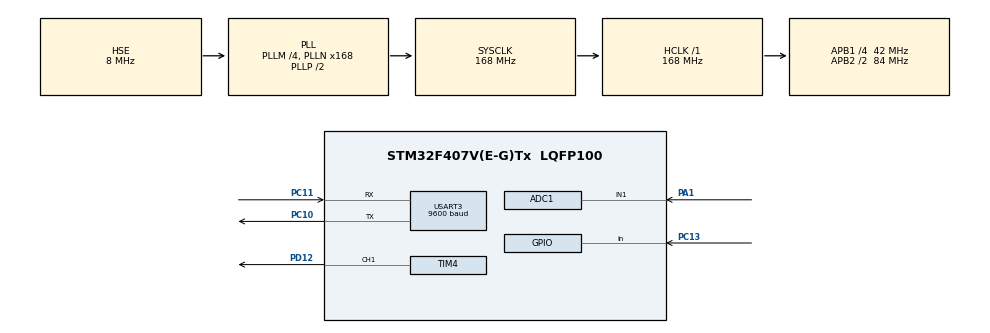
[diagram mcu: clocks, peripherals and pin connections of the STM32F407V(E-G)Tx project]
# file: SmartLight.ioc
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ADC1.Channel-9\#ChannelRegularConversion=ADC_CHANNEL_1
ADC1.ClockPrescaler=ADC_CLOCK_SYNC_PCLK_DIV4
ADC1.ContinuousConvMode=DISABLE
ADC1.DMAContinuousRequests=DISABLE
ADC1.DataAlign=ADC_DATAALIGN_RIGHT
ADC1.DiscontinuousConvMode=DISABLE
ADC1.EOCSelection=ADC_EOC_SINGLE_CONV
ADC1.EnableAnalogWatchDog=false
ADC1.ExternalTrigConv=ADC_SOFTWARE_START
ADC1.ExternalTrigConvEdge=ADC_EXTERNALTRIGCONVEDGE_NONE
ADC1.InjNumberOfConversion=0
ADC1.NbrOfConversion=1
ADC1.NbrOfConversionFlag=1
ADC1.Rank-9\#ChannelRegularConversion=1
ADC1.Resolution=ADC_RESOLUTION_12B
ADC1.SamplingTime-9\#ChannelRegularConversion=ADC_SAMPLETIME_3CYCLES
ADC1.ScanConvMode=DISABLE
ADC1.master=1
Mcu.Family=STM32F4
Mcu.Name=STM32F407V(E-G)Tx
Mcu.Package=LQFP100
NVIC.PriorityGroup=NVIC_PRIORITYGROUP_4
NVIC.USART3_IRQn=true\:0\:0\:false\:false\:true\:true
PA1.Signal=ADCx_IN1
PC10.Mode=Asynchronous
PC10.Signal=USART3_TX
PC11.Mode=Asynchronous
PC11.Signal=USART3_RX
PC13-ANTI_TAMP.Signal=GPIO_Input
PD12.Signal=S_TIM4_CH1
PH0-OSC_IN.Mode=HSE-External-Oscillator
PH0-OSC_IN.Signal=RCC_OSC_IN
PH1-OSC_OUT.Mode=HSE-External-Oscillator
PH1-OSC_OUT.Signal=RCC_OSC_OUT
ProjectManager.HeapSize=0x200
ProjectManager.StackSize=0x400
ProjectManager.TargetToolchain=SW4STM32
RCC.48MHZClocksFreq_Value=84000000
RCC.AHBFreq_Value=168000000
RCC.APB1CLKDivider=RCC_HCLK_DIV4
RCC.APB1Freq_Value=42000000
RCC.APB1TimFreq_Value=84000000
RCC.APB2CLKDivider=RCC_HCLK_DIV2
RCC.APB2Freq_Value=84000000
RCC.APB2TimFreq_Value=168000000
RCC.CortexFreq_Value=168000000
RCC.HCLKFreq_Value=168000000
RCC.HSE_VALUE=8000000
RCC.HSI_VALUE=16000000
RCC.LSE_VALUE=32768
RCC.PLLM=4
RCC.PLLN=168
RCC.PLLSourceVirtual=RCC_PLLSOURCE_HSE
RCC.SYSCLKFreq_VALUE=168000000
RCC.SYSCLKSource=RCC_SYSCLKSOURCE_PLLCLK
RCC.VCOOutputFreq_Value=336000000
SH.ADCx_IN1.0=ADC1_IN1,IN1
SH.S_TIM4_CH1.0=TIM4_CH1,PWM Generation1 CH1
TIM4.Channel-PWM\ Generation1\ CH1=TIM_CHANNEL_1
TIM4.Period=999
TIM4.Prescaler=83
USART3.BaudRate=9600
USART3.VirtualMode=VM_ASYNC
VP_TIM4_VS_ClockSourceINT.Mode=Internal
board=custom

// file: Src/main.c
/**
 ******************************************************************************
 * @file           : main.c
 * @brief          : Main program body
 ******************************************************************************
 ** This notice applies to any and all portions of this file
 * that are not between comment pairs USER CODE BEGIN and
 * USER CODE END. Other portions of this file, whether
 * inserted by the user or by software development tools
 * are owned by their respective copyright owners.
 *
 * COPYRIGHT(c) 2019 STMicroelectronics
 *
 * Redistribution and use in source and binary forms, with or without modification,
 * are permitted provided that the following conditions are met:
 *   1. Redistributions of source code must retain the above copyright notice,
 *      this list of conditions and the following disclaimer.
 *   2. Redistributions in binary form must reproduce the above copyright notice,
 *      this list of conditions and the following disclaimer in the documentation
 *      and/or other materials provided with the distribution.
 *   3. Neither the name of STMicroelectronics nor the names of its contributors
 *      may be used to endorse or promote products derived from this software
 *      without specific prior written permission.
 *
 * THIS SOFTWARE IS PROVIDED BY THE COPYRIGHT HOLDERS AND CONTRIBUTORS "AS IS"
 * AND ANY EXPRESS OR IMPLIED WARRANTIES, INCLUDING, BUT NOT LIMITED TO, THE
 * IMPLIED WARRANTIES OF MERCHANTABILITY AND FITNESS FOR A PARTICULAR PURPOSE ARE
 * DISCLAIMED. IN NO EVENT SHALL THE COPYRIGHT HOLDER OR CONTRIBUTORS BE LIABLE
 * FOR ANY DIRECT, INDIRECT, INCIDENTAL, SPECIAL, EXEMPLARY, OR CONSEQUENTIAL
 * DAMAGES (INCLUDING, BUT NOT LIMITED TO, PROCUREMENT OF SUBSTITUTE GOODS OR
 * SERVICES; LOSS OF USE, DATA, OR PROFITS; OR BUSINESS INTERRUPTION) HOWEVER
 * CAUSED AND ON ANY THEORY OF LIABILITY, WHETHER IN CONTRACT, STRICT LIABILITY,
 * OR TORT (INCLUDING NEGLIGENCE OR OTHERWISE) ARISING IN ANY WAY OUT OF THE USE
 * OF THIS SOFTWARE, EVEN IF ADVISED OF THE POSSIBILITY OF SUCH DAMAGE.
 *
 ******************************************************************************
 */
#include "main.h"
#include "stm32f4xx_hal.h"

ADC_HandleTypeDef hadc1;

TIM_HandleTypeDef htim4;

UART_HandleTypeDef huart3;

/* USER CODE BEGIN PV */
/* Private variables ---------------------------------------------------------*/
uint8_t receiveUART[1];
uint16_t sizeReceiveUART = 1;
uint8_t receiveCodeUART;
volatile int status = -3;
volatile int light_intensity = 100;
uint16_t ambient_value;
/* USER CODE END PV */

void SystemClock_Config(void);
static void MX_GPIO_Init(void);
static void MX_USART3_UART_Init(void);
static void MX_ADC1_Init(void);
static void MX_TIM4_Init(void);

void HAL_TIM_MspPostInit(TIM_HandleTypeDef *htim);

/* USER CODE BEGIN PFP */
/* Private function prototypes -----------------------------------------------*/
void HAL_UART_RxCpltCallback(UART_HandleTypeDef *huart) {
	if(huart->Instance == USART3){

		receiveCodeUART = receiveUART[0];

		// LED stripe ON
		if(receiveCodeUART == 'O')
			status = -1;

		// LED stripe OFF
		else if(receiveCodeUART == 'F')
			status = -2;

		// motion detection ON
		else if(receiveCodeUART == 'M')
			status = 1;

		// ambient light intensity sensor ON
		else if(receiveCodeUART == 'A')
			status = 2;

		// ambient light intensity sensor and motion detection ON
		else if(receiveCodeUART == 'B')
			status = 3;

		// 0% of LED light intensity
		else if(receiveCodeUART == '0')
			light_intensity = 0;

		// 20% of LED light intensity
		else if(receiveCodeUART == '2')
			light_intensity = 20;

		// 40% of LED light intensity
		else if(receiveCodeUART == '4')
			light_intensity = 40;

		// 60% of LED light intensity
		else if(receiveCodeUART == '6')
			light_intensity = 60;

		// 80% of LED light intensity
		else if(receiveCodeUART == '8')
			light_intensity = 80;

		// 100% of LED light intensity
		else if(receiveCodeUART == '1')
			light_intensity = 100;
	}

	HAL_UART_Receive_IT(&huart3, receiveUART, sizeReceiveUART);
}
/* USER CODE END PFP */

int main(void)
{

	/* MCU Configuration----------------------------------------------------------*/

	/* Reset of all peripherals, Initializes the Flash interface and the Systick. */
	HAL_Init();

	/* Configure the system clock */
	SystemClock_Config();

	/* Initialize all configured peripherals */
	MX_GPIO_Init();
	MX_USART3_UART_Init();
	MX_ADC1_Init();
	MX_TIM4_Init();
	/* USER CODE BEGIN 2 */
	HAL_UART_Receive_IT(&huart3, receiveUART, sizeReceiveUART);
	HAL_TIM_Base_Start_IT(&htim4);
	HAL_TIM_PWM_Start(&htim4, TIM_CHANNEL_1);

	/* USER CODE END 2 */

	/* Infinite loop */
	/* USER CODE BEGIN WHILE */
	while (1)
	{
		switch(status){
		case -1:{
			TIM4->CCR1 = (light_intensity*10);
			break;
		}
		case -2:{
			TIM4->CCR1 = 0;
			break;
		}
		case 1:{
			int motion = HAL_GPIO_ReadPin(GPIOC, GPIO_PIN_13);

			if (motion == 0)
				TIM4->CCR1 = 0;
			else if (motion == 1){
				TIM4->CCR1 = (light_intensity*10);
			}
			break;
		}
		case 2:{
			HAL_ADC_Start(&hadc1);

			if(HAL_ADC_PollForConversion(&hadc1, 10) == HAL_OK)
				ambient_value = HAL_ADC_GetValue(&hadc1);

			if(ambient_value >= 3000 )
				TIM4->CCR1 = 50;
			else if(ambient_value >= 1000 && ambient_value < 3000 )
				TIM4->CCR1 = 200;
			else if(ambient_value < 1000)
				TIM4->CCR1 = 999;

			break;
		}
		case 3:{
			HAL_ADC_Start(&hadc1);

			if(HAL_ADC_PollForConversion(&hadc1, 10) == HAL_OK)
				ambient_value = HAL_ADC_GetValue(&hadc1);

			int motion = HAL_GPIO_ReadPin(GPIOC, GPIO_PIN_13);

			switch(motion){
			case 0:{
				TIM4->CCR1 = 0;
				break;
			}
			case 1:{
				if(ambient_value >= 3000 )
					TIM4->CCR1 = 50;
				else if(ambient_value >= 1000 && ambient_value < 3000 )
					TIM4->CCR1 = 200;
				else if(ambient_value < 1000)
					TIM4->CCR1 = 999;
				break;
			}
			}
			break;
		}
		}

		/* USER CODE END WHILE */

	}

}

void SystemClock_Config(void)
{

	RCC_OscInitTypeDef RCC_OscInitStruct;
	RCC_ClkInitTypeDef RCC_ClkInitStruct;

	/**Configure the main internal regulator output voltage
	 */
	__HAL_RCC_PWR_CLK_ENABLE();

	__HAL_PWR_VOLTAGESCALING_CONFIG(PWR_REGULATOR_VOLTAGE_SCALE1);

	/**Initializes the CPU, AHB and APB busses clocks
	 */
	RCC_OscInitStruct.OscillatorType = RCC_OSCILLATORTYPE_HSE;
	RCC_OscInitStruct.HSEState = RCC_HSE_ON;
	RCC_OscInitStruct.PLL.PLLState = RCC_PLL_ON;
	RCC_OscInitStruct.PLL.PLLSource = RCC_PLLSOURCE_HSE;
	RCC_OscInitStruct.PLL.PLLM = 4;
	RCC_OscInitStruct.PLL.PLLN = 168;
	RCC_OscInitStruct.PLL.PLLP = RCC_PLLP_DIV2;
	RCC_OscInitStruct.PLL.PLLQ = 4;
	if (HAL_RCC_OscConfig(&RCC_OscInitStruct) != HAL_OK)
	{
		_Error_Handler(__FILE__, __LINE__);
	}

	/**Initializes the CPU, AHB and APB busses clocks
	 */
	RCC_ClkInitStruct.ClockType = RCC_CLOCKTYPE_HCLK|RCC_CLOCKTYPE_SYSCLK
			|RCC_CLOCKTYPE_PCLK1|RCC_CLOCKTYPE_PCLK2;
	RCC_ClkInitStruct.SYSCLKSource = RCC_SYSCLKSOURCE_PLLCLK;
	RCC_ClkInitStruct.AHBCLKDivider = RCC_SYSCLK_DIV1;
	RCC_ClkInitStruct.APB1CLKDivider = RCC_HCLK_DIV4;
	RCC_ClkInitStruct.APB2CLKDivider = RCC_HCLK_DIV2;

	if (HAL_RCC_ClockConfig(&RCC_ClkInitStruct, FLASH_LATENCY_5) != HAL_OK)
	{
		_Error_Handler(__FILE__, __LINE__);
	}

	/**Configure the Systick interrupt time
	 */
	HAL_SYSTICK_Config(HAL_RCC_GetHCLKFreq()/1000);

	/**Configure the Systick
	 */
	HAL_SYSTICK_CLKSourceConfig(SYSTICK_CLKSOURCE_HCLK);

	/* SysTick_IRQn interrupt configuration */
	HAL_NVIC_SetPriority(SysTick_IRQn, 0, 0);
}

/* ADC1 init function */
static void MX_ADC1_Init(void)
{

	ADC_ChannelConfTypeDef sConfig;

	/**Configure the global features of the ADC (Clock, Resolution, Data Alignment and number of conversion)
	 */
	hadc1.Instance = ADC1;
	hadc1.Init.ClockPrescaler = ADC_CLOCK_SYNC_PCLK_DIV4;
	hadc1.Init.Resolution = ADC_RESOLUTION_12B;
	hadc1.Init.ScanConvMode = DISABLE;
	hadc1.Init.ContinuousConvMode = DISABLE;
	hadc1.Init.DiscontinuousConvMode = DISABLE;
	hadc1.Init.ExternalTrigConvEdge = ADC_EXTERNALTRIGCONVEDGE_NONE;
	hadc1.Init.ExternalTrigConv = ADC_SOFTWARE_START;
	hadc1.Init.DataAlign = ADC_DATAALIGN_RIGHT;
	hadc1.Init.NbrOfConversion = 1;
	hadc1.Init.DMAContinuousRequests = DISABLE;
	hadc1.Init.EOCSelection = ADC_EOC_SINGLE_CONV;
	if (HAL_ADC_Init(&hadc1) != HAL_OK)
	{
		_Error_Handler(__FILE__, __LINE__);
	}

	/**Configure for the selected ADC regular channel its corresponding rank in the sequencer and its sample time.
	 */
	sConfig.Channel = ADC_CHANNEL_1;
	sConfig.Rank = 1;
	sConfig.SamplingTime = ADC_SAMPLETIME_3CYCLES;
	if (HAL_ADC_ConfigChannel(&hadc1, &sConfig) != HAL_OK)
	{
		_Error_Handler(__FILE__, __LINE__);
	}

}

/* TIM4 init function */
static void MX_TIM4_Init(void)
{

	TIM_ClockConfigTypeDef sClockSourceConfig;
	TIM_MasterConfigTypeDef sMasterConfig;
	TIM_OC_InitTypeDef sConfigOC;

	htim4.Instance = TIM4;
	htim4.Init.Prescaler = 83;
	htim4.Init.CounterMode = TIM_COUNTERMODE_UP;
	htim4.Init.Period = 999;
	htim4.Init.ClockDivision = TIM_CLOCKDIVISION_DIV1;
	if (HAL_TIM_Base_Init(&htim4) != HAL_OK)
	{
		_Error_Handler(__FILE__, __LINE__);
	}

	sClockSourceConfig.ClockSource = TIM_CLOCKSOURCE_INTERNAL;
	if (HAL_TIM_ConfigClockSource(&htim4, &sClockSourceConfig) != HAL_OK)
	{
		_Error_Handler(__FILE__, __LINE__);
	}

	if (HAL_TIM_PWM_Init(&htim4) != HAL_OK)
	{
		_Error_Handler(__FILE__, __LINE__);
	}

	sMasterConfig.MasterOutputTrigger = TIM_TRGO_RESET;
	sMasterConfig.MasterSlaveMode = TIM_MASTERSLAVEMODE_DISABLE;
	if (HAL_TIMEx_MasterConfigSynchronization(&htim4, &sMasterConfig) != HAL_OK)
	{
		_Error_Handler(__FILE__, __LINE__);
	}

	sConfigOC.OCMode = TIM_OCMODE_PWM1;
	sConfigOC.Pulse = 0;
	sConfigOC.OCPolarity = TIM_OCPOLARITY_HIGH;
	sConfigOC.OCFastMode = TIM_OCFAST_DISABLE;
	if (HAL_TIM_PWM_ConfigChannel(&htim4, &sConfigOC, TIM_CHANNEL_1) != HAL_OK)
	{
		_Error_Handler(__FILE__, __LINE__);
	}

	HAL_TIM_MspPostInit(&htim4);

}

/* USART3 init function */
static void MX_USART3_UART_Init(void)
{

	huart3.Instance = USART3;
	huart3.Init.BaudRate = 9600;
	huart3.Init.WordLength = UART_WORDLENGTH_8B;
	huart3.Init.StopBits = UART_STOPBITS_1;
	huart3.Init.Parity = UART_PARITY_NONE;
	huart3.Init.Mode = UART_MODE_TX_RX;
	huart3.Init.HwFlowCtl = UART_HWCONTROL_NONE;
	huart3.Init.OverSampling = UART_OVERSAMPLING_16;
	if (HAL_UART_Init(&huart3) != HAL_OK)
	{
		_Error_Handler(__FILE__, __LINE__);
	}

}

/** Configure pins as
 * Analog
 * Input
 * Output
 * EVENT_OUT
 * EXTI
 */
static void MX_GPIO_Init(void)
{

	GPIO_InitTypeDef GPIO_InitStruct;

	/* GPIO Ports Clock Enable */
	__HAL_RCC_GPIOC_CLK_ENABLE();
	__HAL_RCC_GPIOH_CLK_ENABLE();
	__HAL_RCC_GPIOA_CLK_ENABLE();
	__HAL_RCC_GPIOD_CLK_ENABLE();

	/*Configure GPIO pin : PC13 */
	GPIO_InitStruct.Pin = GPIO_PIN_13;
	GPIO_InitStruct.Mode = GPIO_MODE_INPUT;
	GPIO_InitStruct.Pull = GPIO_NOPULL;
	HAL_GPIO_Init(GPIOC, &GPIO_InitStruct);

}

void _Error_Handler(char *file, int line)
{
	while(1)
	{
	}
}

/************************ (C) COPYRIGHT STMicroelectronics *****END OF FILE****/
